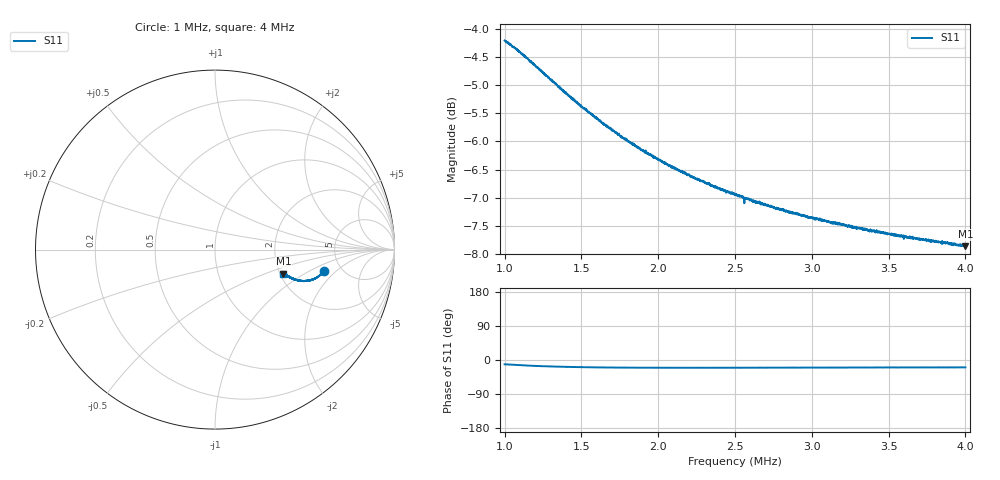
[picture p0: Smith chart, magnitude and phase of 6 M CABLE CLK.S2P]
!Keysight Technologies,E5063A,MY54504603,A.05.08
!Date: Thu Nov 19 06:36:37 2026
!Data & Calibration Information:
!Freq	S11:NONE(--)	S21:NONE(--)	S12:NONE(--)	S22:NONE(--)
# Hz S dB R 50
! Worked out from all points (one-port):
!   2000 points, 1 MHz to 4 MHz, reference 50 ohm
!   lowest |S11| = -7.9 dB at 4 MHz (marker M1), VSWR 2.36, Z = 104 - j33.5 ohm
!   |S11| at or under -10 dB: nowhere
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1000000  -4.20 -11.3  -200.00 0.0  -200.00 0.0  -200.00 0.0
1031516  -4.27 -12.1  -200.00 0.0  -200.00 0.0  -200.00 0.0
1073537  -4.34 -13.2  -200.00 0.0  -200.00 0.0  -200.00 0.0
1112556  -4.44 -14.0  -200.00 0.0  -200.00 0.0  -200.00 0.0
1150075  -4.52 -14.7  -200.00 0.0  -200.00 0.0  -200.00 0.0
1204102  -4.66 -15.7  -200.00 0.0  -200.00 0.0  -200.00 0.0
1261131  -4.82 -16.5  -200.00 0.0  -200.00 0.0  -200.00 0.0
1336168  -4.97 -17.4  -200.00 0.0  -200.00 0.0  -200.00 0.0
1429215  -5.21 -18.3  -200.00 0.0  -200.00 0.0  -200.00 0.0
1501251  -5.38 -18.8  -200.00 0.0  -200.00 0.0  -200.00 0.0
1630315  -5.65 -19.6  -200.00 0.0  -200.00 0.0  -200.00 0.0
1766883  -5.92 -20.1  -200.00 0.0  -200.00 0.0  -200.00 0.0
1898949  -6.16 -20.3  -200.00 0.0  -200.00 0.0  -200.00 0.0
2001000  -6.32 -20.5  -200.00 0.0  -200.00 0.0  -200.00 0.0
2247124  -6.67 -20.6  -200.00 0.0  -200.00 0.0  -200.00 0.0
2352176  -6.78 -20.5  -200.00 0.0  -200.00 0.0  -200.00 0.0
2500750  -6.95 -20.3  -200.00 0.0  -200.00 0.0  -200.00 0.0
2766383  -7.21 -20.1  -200.00 0.0  -200.00 0.0  -200.00 0.0
3000500  -7.36 -20.1  -200.00 0.0  -200.00 0.0  -200.00 0.0
3281141  -7.53 -19.8  -200.00 0.0  -200.00 0.0  -200.00 0.0
3500250  -7.64 -19.7  -200.00 0.0  -200.00 0.0  -200.00 0.0
4000000  -7.87 -19.4  -200.00 0.0  -200.00 0.0  -200.00 0.0
